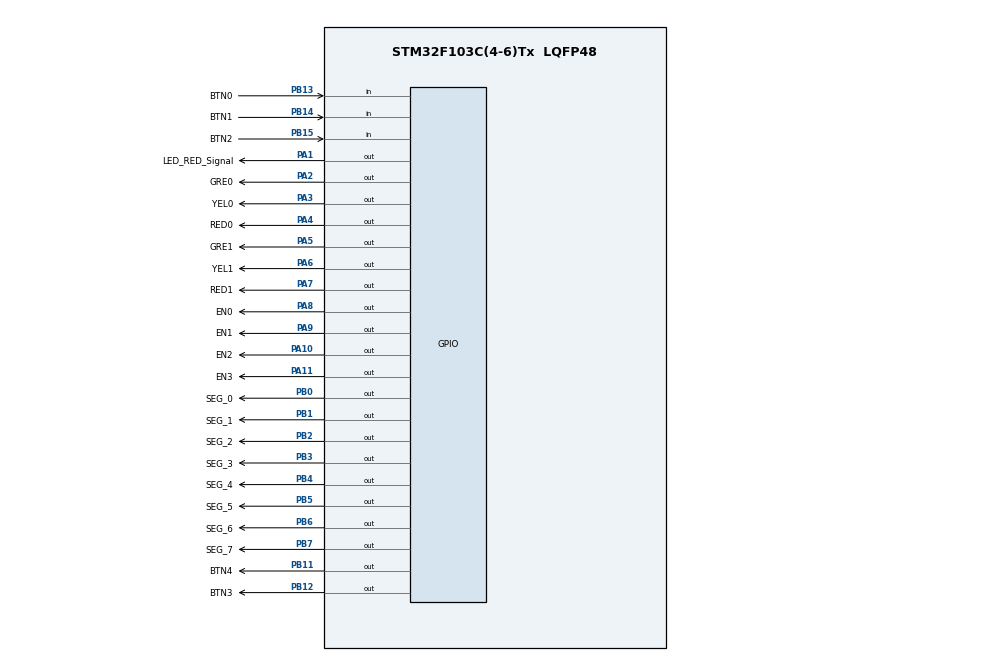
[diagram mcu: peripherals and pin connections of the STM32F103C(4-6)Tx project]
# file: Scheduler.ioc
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Mcu.Family=STM32F1
Mcu.Name=STM32F103C(4-6)Tx
Mcu.Package=LQFP48
NVIC.PriorityGroup=NVIC_PRIORITYGROUP_4
NVIC.TIM2_IRQn=true\:0\:0\:false\:false\:true\:true\:true\:true
PA1.GPIO_Label=LED_RED_Signal
PA1.Signal=GPIO_Output
PA10.GPIO_Label=EN2
PA10.Signal=GPIO_Output
PA11.GPIO_Label=EN3
PA11.Signal=GPIO_Output
PA2.GPIO_Label=GRE0
PA2.Signal=GPIO_Output
PA3.GPIO_Label=YEL0
PA3.Signal=GPIO_Output
PA4.GPIO_Label=RED0
PA4.Signal=GPIO_Output
PA5.GPIO_Label=GRE1
PA5.Signal=GPIO_Output
PA6.GPIO_Label=YEL1
PA6.Signal=GPIO_Output
PA7.GPIO_Label=RED1
PA7.Signal=GPIO_Output
PA8.GPIO_Label=EN0
PA8.Signal=GPIO_Output
PA9.GPIO_Label=EN1
PA9.Signal=GPIO_Output
PB0.GPIO_Label=SEG_0
PB0.Signal=GPIO_Output
PB1.GPIO_Label=SEG_1
PB1.Signal=GPIO_Output
PB11.GPIO_Label=BTN4
PB11.Signal=GPIO_Output
PB12.GPIO_Label=BTN3
PB12.Signal=GPIO_Output
PB13.GPIO_Label=BTN0
PB13.Signal=GPIO_Input
PB14.GPIO_Label=BTN1
PB14.Signal=GPIO_Input
PB15.GPIO_Label=BTN2
PB15.Signal=GPIO_Input
PB2.GPIO_Label=SEG_2
PB2.Signal=GPIO_Output
PB3.GPIO_Label=SEG_3
PB3.Signal=GPIO_Output
PB4.GPIO_Label=SEG_4
PB4.Signal=GPIO_Output
PB5.GPIO_Label=SEG_5
PB5.Signal=GPIO_Output
PB6.GPIO_Label=SEG_6
PB6.Signal=GPIO_Output
PB7.GPIO_Label=SEG_7
PB7.Signal=GPIO_Output
ProjectManager.HeapSize=0x200
ProjectManager.StackSize=0x400
ProjectManager.TargetToolchain=STM32CubeIDE
RCC.APB1Freq_Value=8000000
RCC.APB2Freq_Value=8000000
TIM2.Period=9
TIM2.Prescaler=799
VP_SYS_VS_ND.Mode=No_Debug
VP_TIM2_VS_ClockSourceINT.Mode=Internal
board=custom

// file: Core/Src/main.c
/* USER CODE BEGIN Header */
/**
  ******************************************************************************
  * @file           : main.c
  * @brief          : Main program body
  ******************************************************************************
  * @attention
  *
  * Copyright (c) 2025 STMicroelectronics.
  * All rights reserved.
  *
  * This software is licensed under terms that can be found in the LICENSE file
  * in the root directory of this software component.
  * If no LICENSE file comes with this software, it is provided AS-IS.
  *
  ******************************************************************************
  */
/* USER CODE END Header */
#include "main.h"
#include "tim.h"
#include "gpio.h"

/* USER CODE BEGIN Includes */
#include "traffic_light_config.h"
#include "traffic_light_manual.h"
#include "traffic_light_automatic.h"
#include "global.h"
#include "scheduler.h"

/* USER CODE END Includes */

/* USER CODE BEGIN PM */
void init_system();
void fsm_manual();
void fsm_automatic();
void fsm_config();

void statusLED(){
			  HAL_GPIO_TogglePin(GPIOA, LED_RED_Signal_Pin);

}
void GRE_LED(){
		HAL_GPIO_TogglePin(GPIOA, GRE0_Pin);
}
void RED_LED(){
	HAL_GPIO_TogglePin(GPIOA, RED0_Pin);
}
void YEL_LED(){
	HAL_GPIO_TogglePin(GPIOA,YEL0_Pin);
}
/* USER CODE END PM */

/* USER CODE BEGIN PV */
SystemState_t system_state = AUTOMATIC_MODE;
AutomaticState_t status_automatic = INIT_RED_GRE;
ConfigState_t status_config = INIT_MODE2;
ManualState_t status_manual = INIT_SYSTEM;
StopState_t status_stop = INIT_STOP_ROAD;
/* USER CODE END PV */

void SystemClock_Config(void);

int main(void)
{

  /* MCU Configuration--------------------------------------------------------*/

  /* Reset of all peripherals, Initializes the Flash interface and the Systick. */
  HAL_Init();

  /* Configure the system clock */
  SystemClock_Config();

  /* Initialize all configured peripherals */
  MX_GPIO_Init();
  MX_TIM2_Init();
  /* USER CODE BEGIN 2 */

  init_system();
  	  SCH_init();
	  SCH_Add_Task(statusLED, 10, 500);
//	  SCH_Add_Task(RED_LED, 0, 500);
//	  SCH_Add_Task(GRE_LED, 0, 500);
//	  SCH_Add_Task(YEL_LED, 0, 500);
	  SCH_Add_Task(button_scan_all, 5, 10);
//	  SCH_Add_Task(timer_run, 0, 1);
//	  SCH_Add_Task(fsm_traffic_manual(), 0, 1 );
	  SCH_Add_Task(traffic_light_automatic, 0, 10);
	  SCH_Add_Task(fsm_traffic_config, 0, 1);

  /* USER CODE END 2 */

  /* Infinite loop */
  /* USER CODE BEGIN WHILE */
  while (1)
  {

	  SCH_Dispatch_Task();
    /* USER CODE END WHILE */

  }
}

void SystemClock_Config(void)
{
  RCC_OscInitTypeDef RCC_OscInitStruct = {0};
  RCC_ClkInitTypeDef RCC_ClkInitStruct = {0};

  /** Initializes the RCC Oscillators according to the specified parameters
  * in the RCC_OscInitTypeDef structure.
  */
  RCC_OscInitStruct.OscillatorType = RCC_OSCILLATORTYPE_HSI;
  RCC_OscInitStruct.HSIState = RCC_HSI_ON;
  RCC_OscInitStruct.HSICalibrationValue = RCC_HSICALIBRATION_DEFAULT;
  RCC_OscInitStruct.PLL.PLLState = RCC_PLL_NONE;
  if (HAL_RCC_OscConfig(&RCC_OscInitStruct) != HAL_OK)
  {
    Error_Handler();
  }

  /** Initializes the CPU, AHB and APB buses clocks
  */
  RCC_ClkInitStruct.ClockType = RCC_CLOCKTYPE_HCLK|RCC_CLOCKTYPE_SYSCLK
                              |RCC_CLOCKTYPE_PCLK1|RCC_CLOCKTYPE_PCLK2;
  RCC_ClkInitStruct.SYSCLKSource = RCC_SYSCLKSOURCE_HSI;
  RCC_ClkInitStruct.AHBCLKDivider = RCC_SYSCLK_DIV1;
  RCC_ClkInitStruct.APB1CLKDivider = RCC_HCLK_DIV1;
  RCC_ClkInitStruct.APB2CLKDivider = RCC_HCLK_DIV1;

  if (HAL_RCC_ClockConfig(&RCC_ClkInitStruct, FLASH_LATENCY_0) != HAL_OK)
  {
    Error_Handler();
  }
}

/* USER CODE BEGIN 4 */
void HAL_TIM_PeriodElapsedCallback(TIM_HandleTypeDef *htim){

		timer_run();
		SCH_Update();

}
void init_system(){
	 HAL_TIM_Base_Start_IT(&htim2);
	  setTimer(FLAG_BUTTON, 10);
	  setTimer(LED_DEBUG, 500);

}
void fsm_manual(){
	fsm_traffic_manual();
}
void fsm_automatic(){
	traffic_light_automatic();
}
void fsm_config(){
	fsm_traffic_config();
}
/* USER CODE END 4 */

void Error_Handler(void)
{
  __disable_irq();
  while (1)
  {
  }
}
